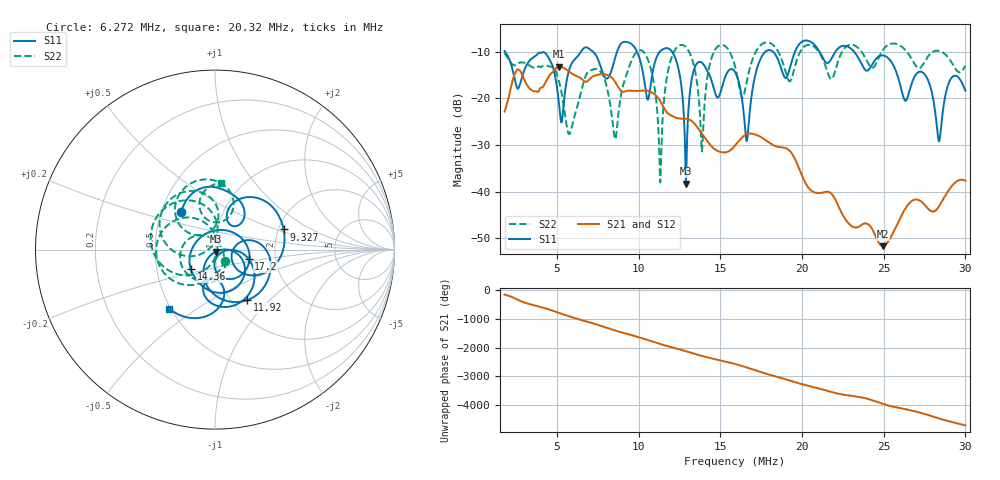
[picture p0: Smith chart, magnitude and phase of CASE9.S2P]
!Agilent Technologies,E5061B,MY49101568,A.02.00
!Date: Wed Mar 01 14:26:19 2023
!Data & Calibration Information:
!Freq	S11:SOLT2(OFF)	S21:SOLT2(OFF)	S12:SOLT2(OFF)	S22:SOLT2(OFF)
# Hz S dB R 50
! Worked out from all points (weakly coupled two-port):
!   1155 points, 1.8 MHz to 30 MHz, reference 50 ohm
!   highest |S21| = -13.22 dB at 5.123 MHz (marker M1); lowest = -51.7 dB at 24.97 MHz (marker M2)
!   lowest |S11| = -38.3 dB at 12.89 MHz (marker M3), VSWR 1.02, Z = 50.3 - j1.17 ohm
!   |S11| at or under -10 dB: 1.825 MHz to 6.479 MHz (4.654 MHz wide, 112 % of centre); 12.04 MHz to 17.77 MHz (5.727 MHz wide, 38.4 % of centre); 23.18 MHz to end of sweep (the widest 3 of 7)
!   |S22| runs from -38.0 to -8.0 dB; largest |S21 - S12| = 0.0028
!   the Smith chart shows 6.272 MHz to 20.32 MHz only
!   S11 on the Smith chart (normalised r, x): 6.272 MHz: 0.63, +0.29; 9.327 MHz: 2.14, +0.57; 11.92 MHz: 1.18, -0.75; 14.36 MHz: 0.75, -0.17; 17.2 MHz: 1.45, -0.15; 20.32 MHz: 0.49, -0.39
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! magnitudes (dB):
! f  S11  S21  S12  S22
! 1.8 MHz  -9.9  -22.9  -22.8  -10.3
! 5.123 MHz  -20.9  -13.2  -13.2  -16.3
! 6.272 MHz  -11.0  -15.3  -15.3  -21.5
! 6.516 MHz  -9.8  -15.9  -15.8  -18.1
! 7.689 MHz  -13.3  -14.8  -14.8  -14.4
! 8.569 MHz  -11.3  -16.5  -16.5  -28.8
! 9.327 MHz  -8.0  -18.4  -18.4  -14.2
! 10.48 MHz  -19.3  -18.3  -18.4  -11.0
! 11.21 MHz  -10.5  -20.0  -20.0  -26.4
! 11.92 MHz  -9.5  -23.6  -23.6  -12.4
! 12.89 MHz  -38.3  -24.4  -24.4  -9.1
! 13.87 MHz  -12.4  -27.6  -27.6  -31.4
! 14.36 MHz  -15.2  -29.9  -29.9  -12.7
! 15.9 MHz  -14.4  -30.1  -30.2  -13.2
! 16.61 MHz  -29.2  -27.7  -27.7  -16.6
! 17.2 MHz  -14.3  -27.8  -27.9  -9.9
! 20.32 MHz  -7.6  -38.8  -38.8  -8.6
! 20.62 MHz  -8.1  -39.9  -39.9  -8.7
! 24.97 MHz  -10.8  -51.7  -51.7  -9.6
! 25.31 MHz  -11.5  -50.5  -50.4  -8.5
! 28.39 MHz  -29.2  -43.1  -43.1  -9.8
! 30 MHz  -18.4  -37.7  -37.6  -13.0
